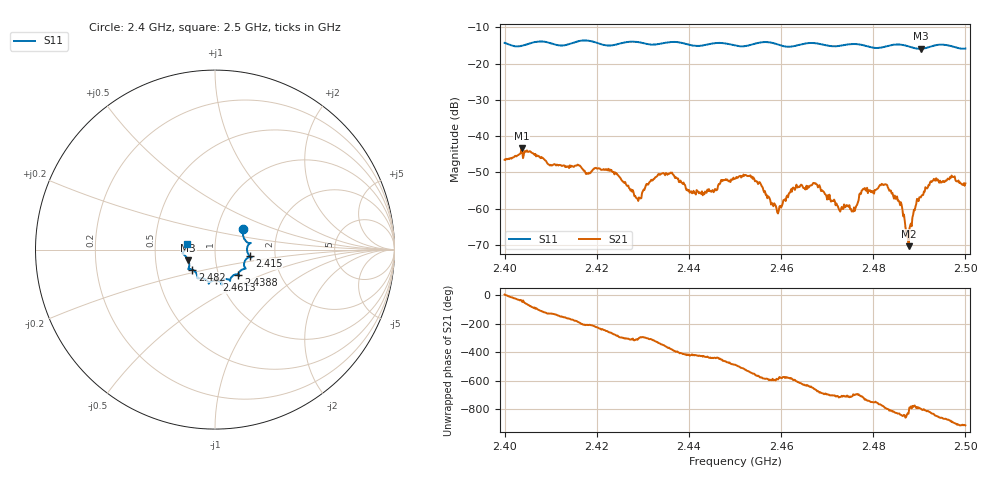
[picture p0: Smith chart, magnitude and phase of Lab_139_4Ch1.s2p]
# Hz S RI R 50
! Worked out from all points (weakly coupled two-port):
!   601 points, 2.4 GHz to 2.5 GHz, reference 50 ohm
!   highest |S21| = -43.36 dB at 2.4037 GHz (marker M1); lowest = -70.4 dB at 2.4877 GHz (marker M2)
!   lowest |S11| = -15.9 dB at 2.4903 GHz (marker M3), VSWR 1.38, Z = 36.8 - j4.45 ohm
!   |S11| at or under -10 dB: start of sweep to end of sweep
!   S12 and S22 are empty: the file has one direction only
!   S11 on the Smith chart (normalised r, x): 2.4 GHz: 1.33, +0.31; 2.415 GHz: 1.47, -0.11; 2.4388 GHz: 1.24, -0.36; 2.4613 GHz: 0.96, -0.34; 2.482 GHz: 0.76, -0.17; 2.5 GHz: 0.72, +0.05
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2.4e9  0.1578 0.1122  0.00471 0.000395  0 0  0 0
2.403667e9  0.1686 0.052  0.00536 -0.00417  0 0  0 0
2.415e9  0.1924 -0.036  -0.00374 -0.000265  0 0  0 0
2.416667e9  0.2035 -0.0438  -0.00342 0.00134  0 0  0 0
2.423e9  0.163 -0.0722  -0.000435 0.0033  0 0  0 0
2.429167e9  0.1668 -0.1065  0.000708 0.00123  0 0  0 0
2.433333e9  0.1322 -0.1314  0.00269 0.00127  0 0  0 0
2.438833e9  0.1297 -0.1407  0.0014 -0.00181  0 0  0 0
2.442833e9  0.092 -0.1524  0.000688 -0.00158  0 0  0 0
2.45e9  0.069 -0.1648  -0.00158 -0.00204  0 0  0 0
2.453667e9  0.0356 -0.1806  -0.00274 0.00032  0 0  0 0
2.459167e9  0.0321 -0.1826  -0.000576 0.000676  0 0  0 0
2.461333e9  0.00765 -0.1712  -0.00122 0.000893  0 0  0 0
2.466667e9  -0.0348 -0.1901  0.000633 0.002  0 0  0 0
2.4755e9  -0.0943 -0.1614  0.000909 0.00019  0 0  0 0
2.477667e9  -0.0975 -0.1525  0.00179 0.00019  0 0  0 0
2.482e9  -0.1261 -0.1118  0.00116 -0.00181  0 0  0 0
2.483333e9  -0.1397 -0.1087  0.00027 -0.00185  0 0  0 0
2.487667e9  -0.1442 -0.0961  -0.000112 -0.00028  0 0  0 0
2.490333e9  -0.1492 -0.059  0.000308 -0.00139  0 0  0 0
2.493167e9  -0.1757 -0.0258  -0.00109 -0.00233  0 0  0 0
2.5e9  -0.1586 0.0326  -0.00215 0.000547  0 0  0 0
